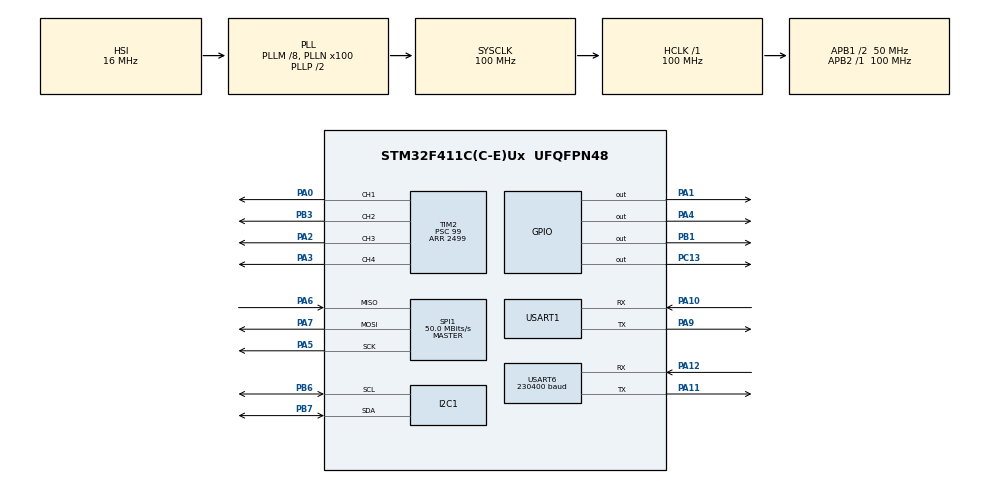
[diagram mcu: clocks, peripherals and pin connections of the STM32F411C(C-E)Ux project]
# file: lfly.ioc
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FREERTOS.Tasks01=defaultTask,24,256,StartDefaultTask,Default,NULL,Dynamic,NULL,NULL
FREERTOS.configCHECK_FOR_STACK_OVERFLOW=2
FREERTOS.configENABLE_FPU=1
FREERTOS.configGENERATE_RUN_TIME_STATS=1
FREERTOS.configMINIMAL_STACK_SIZE=256
FREERTOS.configTIMER_TASK_PRIORITY=3
FREERTOS.configTIMER_TASK_STACK_DEPTH=1024
FREERTOS.configTOTAL_HEAP_SIZE=32768
FREERTOS.configUSE_MALLOC_FAILED_HOOK=1
FREERTOS.configUSE_STATS_FORMATTING_FUNCTIONS=1
I2C1.DutyCycle=I2C_DUTYCYCLE_2
I2C1.I2C_Mode=I2C_Fast
Mcu.Family=STM32F4
Mcu.Name=STM32F411C(C-E)Ux
Mcu.Package=UFQFPN48
NVIC.PriorityGroup=NVIC_PRIORITYGROUP_4
NVIC.TIM1_UP_TIM10_IRQn=true\:15\:0\:false\:false\:true\:false\:false\:true\:true
NVIC.TimeBase=TIM1_UP_TIM10_IRQn
NVIC.TimeBaseIP=TIM1
NVIC.USART1_IRQn=true\:5\:0\:false\:false\:true\:true\:true\:true\:true
NVIC.USART6_IRQn=true\:5\:0\:false\:false\:true\:true\:true\:true\:true
PA0-WKUP.Signal=S_TIM2_CH1_ETR
PA1.Signal=GPIO_Output
PA10.Mode=Asynchronous
PA10.Signal=USART1_RX
PA11.GPIO_PuPd=GPIO_NOPULL
PA11.Mode=Asynchronous
PA11.Signal=USART6_TX
PA12.Mode=Asynchronous
PA12.Signal=USART6_RX
PA2.Signal=S_TIM2_CH3
PA3.Signal=S_TIM2_CH4
PA4.Signal=GPIO_Output
PA5.Mode=Full_Duplex_Master
PA5.Signal=SPI1_SCK
PA6.Mode=Full_Duplex_Master
PA6.Signal=SPI1_MISO
PA7.Mode=Full_Duplex_Master
PA7.Signal=SPI1_MOSI
PA9.Mode=Asynchronous
PA9.Signal=USART1_TX
PB1.Signal=GPIO_Output
PB3.Signal=S_TIM2_CH2
PB6.Mode=I2C
PB6.Signal=I2C1_SCL
PB7.Mode=I2C
PB7.Signal=I2C1_SDA
PC13-ANTI_TAMP.Signal=GPIO_Output
PC14-OSC32_IN.Mode=LSE-External-Oscillator
PC14-OSC32_IN.Signal=RCC_OSC32_IN
PC15-OSC32_OUT.Mode=LSE-External-Oscillator
PC15-OSC32_OUT.Signal=RCC_OSC32_OUT
PH0\ -\ OSC_IN.Mode=HSE-External-Oscillator
PH0\ -\ OSC_IN.Signal=RCC_OSC_IN
PH1\ -\ OSC_OUT.Mode=HSE-External-Oscillator
PH1\ -\ OSC_OUT.Signal=RCC_OSC_OUT
ProjectManager.HeapSize=0x200
ProjectManager.StackSize=0x400
ProjectManager.TargetToolchain=CMake
RCC.48MHZClocksFreq_Value=50000000
RCC.AHBFreq_Value=100000000
RCC.APB1CLKDivider=RCC_HCLK_DIV2
RCC.APB1Freq_Value=50000000
RCC.APB1TimFreq_Value=100000000
RCC.APB2Freq_Value=100000000
RCC.APB2TimFreq_Value=100000000
RCC.CortexFreq_Value=100000000
RCC.HCLKFreq_Value=100000000
RCC.HSE_VALUE=25000000
RCC.HSI_VALUE=16000000
RCC.PLLM=8
RCC.PLLN=100
RCC.SYSCLKFreq_VALUE=100000000
RCC.SYSCLKSource=RCC_SYSCLKSOURCE_PLLCLK
RCC.VCOOutputFreq_Value=200000000
RealThread.RT-Thread.3.1.3.RT_TICK_PER_SECOND=10000
RealThread.X-CUBE-RT-Thread_Nano.4.1.1.RT_DEBUG=1
RealThread.X-CUBE-RT-Thread_Nano.4.1.1.RT_DEBUG_INIT=1
RealThread.X-CUBE-RT-Thread_Nano.4.1.1.RT_USING_HOOK=0
RealThread.X-CUBE-RT-Thread_Nano.4.1.1.RT_USING_OVERFLOW_CHECK=1
RealThread.X-CUBE-RT-Thread_Nano.4.1.1.RT_USING_USER_MAIN=1
SH.S_TIM2_CH1_ETR.0=TIM2_CH1,PWM Generation1 CH1
SH.S_TIM2_CH2.0=TIM2_CH2,PWM Generation2 CH2
SH.S_TIM2_CH3.0=TIM2_CH3,PWM Generation3 CH3
SH.S_TIM2_CH4.0=TIM2_CH4,PWM Generation4 CH4
SPI1.BaudRatePrescaler=SPI_BAUDRATEPRESCALER_2
SPI1.CalculateBaudRate=50.0 MBits/s
SPI1.Direction=SPI_DIRECTION_2LINES
SPI1.Mode=SPI_MODE_MASTER
SPI1.VirtualType=VM_MASTER
TIM11.Prescaler=99
TIM2.Channel-PWM\ Generation1\ CH1=TIM_CHANNEL_1
TIM2.Channel-PWM\ Generation2\ CH2=TIM_CHANNEL_2
TIM2.Channel-PWM\ Generation3\ CH3=TIM_CHANNEL_3
TIM2.Channel-PWM\ Generation4\ CH4=TIM_CHANNEL_4
TIM2.OCFastMode_PWM-PWM\ Generation1\ CH1=TIM_OCFAST_DISABLE
TIM2.OCFastMode_PWM-PWM\ Generation2\ CH2=TIM_OCFAST_DISABLE
TIM2.OCFastMode_PWM-PWM\ Generation3\ CH3=TIM_OCFAST_DISABLE
TIM2.OCFastMode_PWM-PWM\ Generation4\ CH4=TIM_OCFAST_DISABLE
TIM2.Period=2499
TIM2.Prescaler=99
TIM2.Pulse-PWM\ Generation1\ CH1=0
TIM2.Pulse-PWM\ Generation2\ CH2=0
TIM2.Pulse-PWM\ Generation3\ CH3=0
TIM2.Pulse-PWM\ Generation4\ CH4=0
USART1.VirtualMode=VM_ASYNC
USART6.BaudRate=230400
USART6.VirtualMode=VM_ASYNC
VP_CRC_VS_CRC.Mode=CRC_Activate
VP_FREERTOS_VS_CMSIS_V2.Mode=CMSIS_V2
VP_SYS_VS_tim1.Mode=TIM1
VP_TIM11_VS_ClockSourceINT.Mode=Enable_Timer
VP_TIM2_VS_ClockSourceINT.Mode=Internal
board=custom

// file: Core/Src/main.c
/* USER CODE BEGIN Header */
/**
  ******************************************************************************
  * @file           : main.c
  * @brief          : Main program body
  ******************************************************************************
  * @attention
  *
  * Copyright (c) 2025 STMicroelectronics.
  * All rights reserved.
  *
  * This software is licensed under terms that can be found in the LICENSE file
  * in the root directory of this software component.
  * If no LICENSE file comes with this software, it is provided AS-IS.
  *
  ******************************************************************************
  */
/* USER CODE END Header */
#include "main.h"
#include "cmsis_os.h"

/* USER CODE BEGIN Includes */

#include <stdio.h>
#include <string.h>
#include "AttitudeTask.h"
#include "LogUtils.h"
#include "ESCControlTask.h"
#include "JY901PUtils.h"
#include "PidTask.h"
#include "RemoteControlTask.h"
#include "W25Q64Utils.h"
#include "wit_c_sdk.h"
/* USER CODE END Includes */

CRC_HandleTypeDef hcrc;

I2C_HandleTypeDef hi2c1;

SPI_HandleTypeDef hspi1;

TIM_HandleTypeDef htim2;
TIM_HandleTypeDef htim11;

UART_HandleTypeDef huart1;
UART_HandleTypeDef huart6;

/* Definitions for defaultTask */
osThreadId_t defaultTaskHandle;
const osThreadAttr_t defaultTask_attributes = {
    .name = "defaultTask",
    .stack_size = 256 * 4,
    .priority = (osPriority_t)osPriorityNormal,
};
/* USER CODE BEGIN PV */

uint8_t usart6_rx_byte = 0;

osThreadId_t imuTaskHandle;
osThreadId_t pidTaskHandle;
osThreadId_t escTaskHandle;
osThreadId_t rcTaskHandle;

/* USER CODE END PV */

void SystemClock_Config(void);
static void MX_GPIO_Init(void);
static void MX_CRC_Init(void);
static void MX_TIM2_Init(void);
static void MX_USART1_UART_Init(void);
static void MX_TIM11_Init(void);
static void MX_I2C1_Init(void);
static void MX_SPI1_Init(void);
static void MX_USART6_UART_Init(void);
void StartDefaultTask(void* argument);

/* USER CODE BEGIN 0 */
void HAL_UART_RxCpltCallback(UART_HandleTypeDef* huart)
{
    if (huart->Instance == USART6)
    {
        WitSerialDataIn(usart6_rx_byte); // 把接收到的数据交给 Wit 解析器
        HAL_UART_Receive_IT(&huart6, &usart6_rx_byte, 1); // 继续接收下一个字节
    }
}

/* USER CODE END 0 */

int main(void)
{

    /* MCU Configuration--------------------------------------------------------*/

    /* Reset of all peripherals, Initializes the Flash interface and the Systick. */
    HAL_Init();

    /* Configure the system clock */
    SystemClock_Config();

    /* Initialize all configured peripherals */
    MX_GPIO_Init();
    MX_CRC_Init();
    MX_TIM2_Init();
    MX_USART1_UART_Init();
    MX_TIM11_Init();
    MX_I2C1_Init();
    MX_SPI1_Init();
    MX_USART6_UART_Init();
    /* USER CODE BEGIN 2 */
    HAL_UART_Receive_IT(&huart6, &usart6_rx_byte, 1);
    HAL_Delay(1000);
    W25Q64_Init();
    HAL_Delay(5000);
    ESC_Init();
    JY901P_Init();

    /* USER CODE END 2 */

    /* Init scheduler */
    osKernelInitialize();

    /* Create the thread(s) */
    /* creation of defaultTask */
    defaultTaskHandle = osThreadNew(StartDefaultTask, NULL, &defaultTask_attributes);

    /* USER CODE BEGIN RTOS_THREADS */
    /* add threads, ... */
    const osThreadAttr_t imuTask_attributes = {
        .name = "IMU_Task",
        .stack_size = 256 * 4, // 256字，4字节/字
        .priority = (osPriority_t)osPriorityHigh,
    };
    imuTaskHandle = osThreadNew(AttitudeTask, NULL, &imuTask_attributes);

    const osThreadAttr_t pidTask_attributes = {
        .name = "PID_Task",
        .stack_size = 256 * 16,
        .priority = (osPriority_t)osPriorityAboveNormal,
    };
    pidTaskHandle = osThreadNew(PidTask, NULL, &pidTask_attributes);

    const osThreadAttr_t escTask_attributes = {
        .name = "ESC_Task",
        .stack_size = 256 * 4,
        .priority = (osPriority_t)osPriorityNormal,
    };
    escTaskHandle = osThreadNew(ESCControlTask,NULL, &escTask_attributes);

    const osThreadAttr_t rcTask_attributes = {
        .name = "RC_Task",
        .stack_size = 256 * 4,
        .priority = (osPriority_t)osPriorityAboveNormal
    };
    rcTaskHandle = osThreadNew(RemoteControlTask, NULL, &rcTask_attributes);
    /* USER CODE END RTOS_THREADS */

    /* Start scheduler */
    osKernelStart();

    /* We should never get here as control is now taken by the scheduler */

    /* Infinite loop */
    while (1)
    {

    }
}

void SystemClock_Config(void)
{
    RCC_OscInitTypeDef RCC_OscInitStruct = {0};
    RCC_ClkInitTypeDef RCC_ClkInitStruct = {0};

    /** Configure the main internal regulator output voltage
    */
    __HAL_RCC_PWR_CLK_ENABLE();
    __HAL_PWR_VOLTAGESCALING_CONFIG(PWR_REGULATOR_VOLTAGE_SCALE1);

    /** Initializes the RCC Oscillators according to the specified parameters
    * in the RCC_OscInitTypeDef structure.
    */
    RCC_OscInitStruct.OscillatorType = RCC_OSCILLATORTYPE_HSI;
    RCC_OscInitStruct.HSIState = RCC_HSI_ON;
    RCC_OscInitStruct.HSICalibrationValue = RCC_HSICALIBRATION_DEFAULT;
    RCC_OscInitStruct.PLL.PLLState = RCC_PLL_ON;
    RCC_OscInitStruct.PLL.PLLSource = RCC_PLLSOURCE_HSI;
    RCC_OscInitStruct.PLL.PLLM = 8;
    RCC_OscInitStruct.PLL.PLLN = 100;
    RCC_OscInitStruct.PLL.PLLP = RCC_PLLP_DIV2;
    RCC_OscInitStruct.PLL.PLLQ = 4;
    if (HAL_RCC_OscConfig(&RCC_OscInitStruct) != HAL_OK)
    {
        Error_Handler();
    }

    /** Initializes the CPU, AHB and APB buses clocks
    */
    RCC_ClkInitStruct.ClockType = RCC_CLOCKTYPE_HCLK | RCC_CLOCKTYPE_SYSCLK
        | RCC_CLOCKTYPE_PCLK1 | RCC_CLOCKTYPE_PCLK2;
    RCC_ClkInitStruct.SYSCLKSource = RCC_SYSCLKSOURCE_PLLCLK;
    RCC_ClkInitStruct.AHBCLKDivider = RCC_SYSCLK_DIV1;
    RCC_ClkInitStruct.APB1CLKDivider = RCC_HCLK_DIV2;
    RCC_ClkInitStruct.APB2CLKDivider = RCC_HCLK_DIV1;

    if (HAL_RCC_ClockConfig(&RCC_ClkInitStruct, FLASH_LATENCY_3) != HAL_OK)
    {
        Error_Handler();
    }
}

static void MX_CRC_Init(void)
{

    hcrc.Instance = CRC;
    if (HAL_CRC_Init(&hcrc) != HAL_OK)
    {
        Error_Handler();
    }
}

static void MX_I2C1_Init(void)
{

    hi2c1.Instance = I2C1;
    hi2c1.Init.ClockSpeed = 400000;
    hi2c1.Init.DutyCycle = I2C_DUTYCYCLE_2;
    hi2c1.Init.OwnAddress1 = 0;
    hi2c1.Init.AddressingMode = I2C_ADDRESSINGMODE_7BIT;
    hi2c1.Init.DualAddressMode = I2C_DUALADDRESS_DISABLE;
    hi2c1.Init.OwnAddress2 = 0;
    hi2c1.Init.GeneralCallMode = I2C_GENERALCALL_DISABLE;
    hi2c1.Init.NoStretchMode = I2C_NOSTRETCH_DISABLE;
    if (HAL_I2C_Init(&hi2c1) != HAL_OK)
    {
        Error_Handler();
    }
}

static void MX_SPI1_Init(void)
{

    /* SPI1 parameter configuration*/
    hspi1.Instance = SPI1;
    hspi1.Init.Mode = SPI_MODE_MASTER;
    hspi1.Init.Direction = SPI_DIRECTION_2LINES;
    hspi1.Init.DataSize = SPI_DATASIZE_8BIT;
    hspi1.Init.CLKPolarity = SPI_POLARITY_LOW;
    hspi1.Init.CLKPhase = SPI_PHASE_1EDGE;
    hspi1.Init.NSS = SPI_NSS_SOFT;
    hspi1.Init.BaudRatePrescaler = SPI_BAUDRATEPRESCALER_2;
    hspi1.Init.FirstBit = SPI_FIRSTBIT_MSB;
    hspi1.Init.TIMode = SPI_TIMODE_DISABLE;
    hspi1.Init.CRCCalculation = SPI_CRCCALCULATION_DISABLE;
    hspi1.Init.CRCPolynomial = 10;
    if (HAL_SPI_Init(&hspi1) != HAL_OK)
    {
        Error_Handler();
    }
}

static void MX_TIM2_Init(void)
{

    TIM_ClockConfigTypeDef sClockSourceConfig = {0};
    TIM_MasterConfigTypeDef sMasterConfig = {0};
    TIM_OC_InitTypeDef sConfigOC = {0};

    htim2.Instance = TIM2;
    htim2.Init.Prescaler = 99;
    htim2.Init.CounterMode = TIM_COUNTERMODE_UP;
    htim2.Init.Period = 2499;
    htim2.Init.ClockDivision = TIM_CLOCKDIVISION_DIV1;
    htim2.Init.AutoReloadPreload = TIM_AUTORELOAD_PRELOAD_DISABLE;
    if (HAL_TIM_Base_Init(&htim2) != HAL_OK)
    {
        Error_Handler();
    }
    sClockSourceConfig.ClockSource = TIM_CLOCKSOURCE_INTERNAL;
    if (HAL_TIM_ConfigClockSource(&htim2, &sClockSourceConfig) != HAL_OK)
    {
        Error_Handler();
    }
    if (HAL_TIM_PWM_Init(&htim2) != HAL_OK)
    {
        Error_Handler();
    }
    sMasterConfig.MasterOutputTrigger = TIM_TRGO_RESET;
    sMasterConfig.MasterSlaveMode = TIM_MASTERSLAVEMODE_DISABLE;
    if (HAL_TIMEx_MasterConfigSynchronization(&htim2, &sMasterConfig) != HAL_OK)
    {
        Error_Handler();
    }
    sConfigOC.OCMode = TIM_OCMODE_PWM1;
    sConfigOC.Pulse = 0;
    sConfigOC.OCPolarity = TIM_OCPOLARITY_HIGH;
    sConfigOC.OCFastMode = TIM_OCFAST_DISABLE;
    if (HAL_TIM_PWM_ConfigChannel(&htim2, &sConfigOC, TIM_CHANNEL_1) != HAL_OK)
    {
        Error_Handler();
    }
    if (HAL_TIM_PWM_ConfigChannel(&htim2, &sConfigOC, TIM_CHANNEL_2) != HAL_OK)
    {
        Error_Handler();
    }
    if (HAL_TIM_PWM_ConfigChannel(&htim2, &sConfigOC, TIM_CHANNEL_3) != HAL_OK)
    {
        Error_Handler();
    }
    if (HAL_TIM_PWM_ConfigChannel(&htim2, &sConfigOC, TIM_CHANNEL_4) != HAL_OK)
    {
        Error_Handler();
    }
    HAL_TIM_MspPostInit(&htim2);
}

static void MX_TIM11_Init(void)
{

    htim11.Instance = TIM11;
    htim11.Init.Prescaler = 99;
    htim11.Init.CounterMode = TIM_COUNTERMODE_UP;
    htim11.Init.Period = 65535;
    htim11.Init.ClockDivision = TIM_CLOCKDIVISION_DIV1;
    htim11.Init.AutoReloadPreload = TIM_AUTORELOAD_PRELOAD_DISABLE;
    if (HAL_TIM_Base_Init(&htim11) != HAL_OK)
    {
        Error_Handler();
    }
}

static void MX_USART1_UART_Init(void)
{

    huart1.Instance = USART1;
    huart1.Init.BaudRate = 115200;
    huart1.Init.WordLength = UART_WORDLENGTH_8B;
    huart1.Init.StopBits = UART_STOPBITS_1;
    huart1.Init.Parity = UART_PARITY_NONE;
    huart1.Init.Mode = UART_MODE_TX_RX;
    huart1.Init.HwFlowCtl = UART_HWCONTROL_NONE;
    huart1.Init.OverSampling = UART_OVERSAMPLING_16;
    if (HAL_UART_Init(&huart1) != HAL_OK)
    {
        Error_Handler();
    }
}

static void MX_USART6_UART_Init(void)
{

    huart6.Instance = USART6;
    huart6.Init.BaudRate = 230400;
    huart6.Init.WordLength = UART_WORDLENGTH_8B;
    huart6.Init.StopBits = UART_STOPBITS_1;
    huart6.Init.Parity = UART_PARITY_NONE;
    huart6.Init.Mode = UART_MODE_TX_RX;
    huart6.Init.HwFlowCtl = UART_HWCONTROL_NONE;
    huart6.Init.OverSampling = UART_OVERSAMPLING_16;
    if (HAL_UART_Init(&huart6) != HAL_OK)
    {
        Error_Handler();
    }
}

static void MX_GPIO_Init(void)
{
    GPIO_InitTypeDef GPIO_InitStruct = {0};

    /* GPIO Ports Clock Enable */
    __HAL_RCC_GPIOC_CLK_ENABLE();
    __HAL_RCC_GPIOH_CLK_ENABLE();
    __HAL_RCC_GPIOA_CLK_ENABLE();
    __HAL_RCC_GPIOB_CLK_ENABLE();

    /*Configure GPIO pin Output Level */
    HAL_GPIO_WritePin(GPIOC, GPIO_PIN_13, GPIO_PIN_RESET);

    /*Configure GPIO pin Output Level */
    HAL_GPIO_WritePin(GPIOA, GPIO_PIN_1 | GPIO_PIN_4, GPIO_PIN_RESET);

    /*Configure GPIO pin Output Level */
    HAL_GPIO_WritePin(GPIOB, GPIO_PIN_1, GPIO_PIN_RESET);

    /*Configure GPIO pin : PC13 */
    GPIO_InitStruct.Pin = GPIO_PIN_13;
    GPIO_InitStruct.Mode = GPIO_MODE_OUTPUT_PP;
    GPIO_InitStruct.Pull = GPIO_NOPULL;
    GPIO_InitStruct.Speed = GPIO_SPEED_FREQ_LOW;
    HAL_GPIO_Init(GPIOC, &GPIO_InitStruct);

    /*Configure GPIO pins : PA1 PA4 */
    GPIO_InitStruct.Pin = GPIO_PIN_1 | GPIO_PIN_4;
    GPIO_InitStruct.Mode = GPIO_MODE_OUTPUT_PP;
    GPIO_InitStruct.Pull = GPIO_NOPULL;
    GPIO_InitStruct.Speed = GPIO_SPEED_FREQ_LOW;
    HAL_GPIO_Init(GPIOA, &GPIO_InitStruct);

    /*Configure GPIO pin : PB1 */
    GPIO_InitStruct.Pin = GPIO_PIN_1;
    GPIO_InitStruct.Mode = GPIO_MODE_OUTPUT_PP;
    GPIO_InitStruct.Pull = GPIO_NOPULL;
    GPIO_InitStruct.Speed = GPIO_SPEED_FREQ_LOW;
    HAL_GPIO_Init(GPIOB, &GPIO_InitStruct);

}

void StartDefaultTask(void* argument)
{
    /* USER CODE BEGIN 5 */
    UNUSED(argument);
    /* Infinite loop */
    for (;;)
    {
        osDelay(100);
    }
    /* USER CODE END 5 */
}

void HAL_TIM_PeriodElapsedCallback(TIM_HandleTypeDef* htim)
{
    if (htim->Instance == TIM1)
    {
        HAL_IncTick();
    }
}

void Error_Handler(void)
{
    __disable_irq();
    while (1)
    {
    }
}
